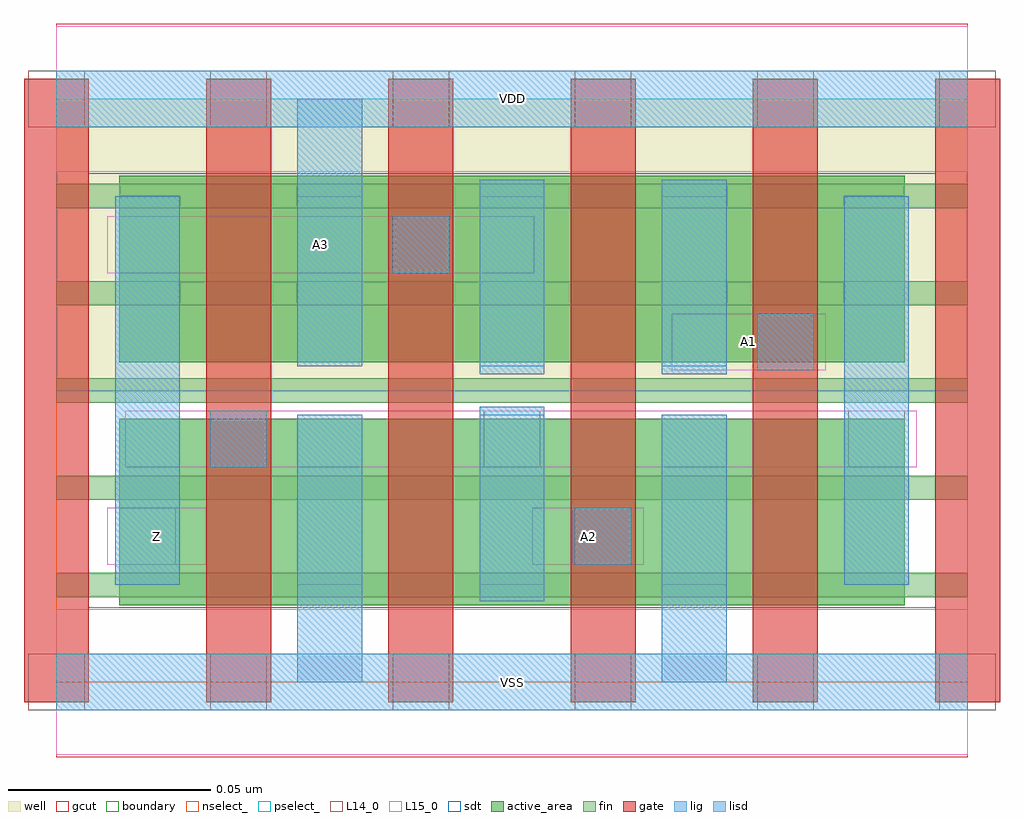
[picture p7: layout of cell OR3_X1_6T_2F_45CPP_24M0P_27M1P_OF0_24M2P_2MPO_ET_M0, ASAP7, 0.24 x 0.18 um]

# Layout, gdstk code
import gdstk
lib = gdstk.Library(unit=1e-6, precision=2.5e-10)
def R(c, l, rs):  # rectangles x0, y0, x1, y1
    for r in rs: c.add(gdstk.rectangle(r[:2], r[2:], *l))
def A(c, l, x, y, w, h, nx, ny, dx, dy):  # array of equal rectangles
    R(c, l, [(x+i*dx, y+j*dy, x+i*dx+w, y+j*dy+h) for i in range(nx) for j in range(ny)])
well = (1, 0)
fin = (2, 0)
gate = (7, 0)
gcut = (10, 0)
active_area = (11, 0)
nselect_ = (12, 0)
pselect_ = (13, 0)
L14_0 = (14, 0)
L15_0 = (15, 0)
lig = (16, 0)
lisd = (17, 0)
sdt = (88, 0)
boundary = (100, 0)

or3_x1_6t_2f_45cpp_24m0p = lib.new_cell('OR3_X1_6T_2F_45CPP_24M0P_27M1P_OF0_24M2P_2MPO_ET_M0')
R(or3_x1_6t_2f_45cpp_24m0p, well, [(0,0.072,0.225,0.144)])
A(or3_x1_6t_2f_45cpp_24m0p, fin, 0, 0.021, 0.225, 0.006, 1, 5, 0, 0.024)
A(or3_x1_6t_2f_45cpp_24m0p, gate, -0.008, -0.005, 0.016, 0.154, 6, 1, 0.045, 0)
R(or3_x1_6t_2f_45cpp_24m0p, gcut, [(0,-0.0185,0.225,0.0185), (-0.008,-0.005,0.008,0.149), (0.217,-0.005,0.233,0.149), (0,0.1255,0.225,0.1625)])
A(or3_x1_6t_2f_45cpp_24m0p, active_area, 0.0155, 0.019, 0.059, 0.046, 4, 2, 0.045, 0.06)
R(or3_x1_6t_2f_45cpp_24m0p, nselect_, [(0,0,0.225,0.072)])
R(or3_x1_6t_2f_45cpp_24m0p, pselect_, [(0,0.072,0.225,0.144)])
A(or3_x1_6t_2f_45cpp_24m0p, L14_0, -0.007, -0.007, 0.014, 0.014, 6, 2, 0.045, 0.144)
R(or3_x1_6t_2f_45cpp_24m0p, L14_0, [(0.0155,0.029,0.0295,0.043), (0.128,0.029,0.142,0.043), (0.038,0.053,0.052,0.067), (0.1055,0.053,0.1195,0.067), (0.1955,0.053,0.2095,0.067), (0.173,0.077,0.187,0.091), (0.083,0.101,0.097,0.115)])
R(or3_x1_6t_2f_45cpp_24m0p, L15_0, [(0,-0.018,0.225,0.018), (0.0125,0.029,0.037,0.043), (0.1175,0.029,0.145,0.043), (0.017,0.053,0.2125,0.067), (0.152,0.077,0.19,0.091), (0.0125,0.101,0.118,0.115), (0,0.126,0.225,0.162)])
R(or3_x1_6t_2f_45cpp_24m0p, lig, [(0,-0.007,0.225,0.007), (0.128,0.029,0.142,0.043), (0.038,0.053,0.052,0.067), (0.173,0.077,0.187,0.091), (0.083,0.101,0.097,0.115), (0,0.137,0.225,0.151)])
R(or3_x1_6t_2f_45cpp_24m0p, lisd, [(0.0595,0,0.0755,0.066), (0.1495,0,0.1655,0.066), (0.1045,0.02,0.1205,0.068), (0.0145,0.024,0.0305,0.12), (0.1945,0.024,0.2105,0.12), (0.1045,0.076,0.1205,0.124), (0.1495,0.076,0.1655,0.124), (0.0595,0.078,0.0755,0.144)])
A(or3_x1_6t_2f_45cpp_24m0p, sdt, 0.0595, 0.024, 0.016, 0.042, 3, 2, 0.045, 0.054)
R(or3_x1_6t_2f_45cpp_24m0p, sdt, [(0.0145,0.024,0.0305,0.12), (0.1945,0.024,0.2105,0.12)])
R(or3_x1_6t_2f_45cpp_24m0p, boundary, [(0,0,0.225,0.144)])
or3_x1_6t_2f_45cpp_24m0p.add(gdstk.Label('A1', (0.171,0.084), layer=15, texttype=251))
or3_x1_6t_2f_45cpp_24m0p.add(gdstk.Label('A2', (0.1315,0.036), layer=15, texttype=251))
or3_x1_6t_2f_45cpp_24m0p.add(gdstk.Label('Z', (0.0248,0.036), layer=15, texttype=251))
or3_x1_6t_2f_45cpp_24m0p.add(gdstk.Label('A3', (0.0653,0.108), layer=15, texttype=251))
or3_x1_6t_2f_45cpp_24m0p.add(gdstk.Label('VDD', (0.1125,0.144), layer=15, texttype=251))
or3_x1_6t_2f_45cpp_24m0p.add(gdstk.Label('VSS', (0.1125,0), layer=15, texttype=251))
or3_x1_6t_2f_45cpp_24m0p.add(gdstk.Label('VDD', (0.1125,0.144), layer=1, texttype=251))
or3_x1_6t_2f_45cpp_24m0p.add(gdstk.Label('VSS', (0.1125,0), layer=3, texttype=251))

lib.write_gds('OR3_X1_6T_2F_45CPP_24M0P_27M1P_OF0_24M2P_2MPO_ET_M0.gds')
